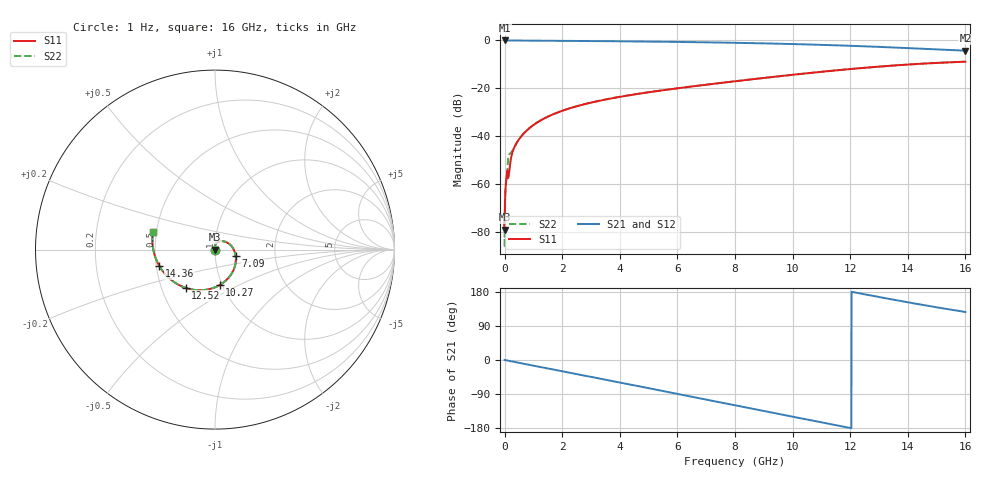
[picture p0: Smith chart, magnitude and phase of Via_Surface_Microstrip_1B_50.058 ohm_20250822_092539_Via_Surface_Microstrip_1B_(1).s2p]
! Touchstone file exported from HFSS 2025.1.0
!  File:  E:/00_Asenjo/00_Project/Ketupa/simulation/Ansys_HFSS_via/HFSS_Projects/Via_Surface_Microstrip_1B_50.058 ohm_20250822_092539.aedt
!  Generated:  09:42:27 AM Aug 22, 2025
!  Design:  Via_Surface_Microstrip_1B_(1)
!  Project:  Via_Surface_Microstrip_1B_50.058 ohm_20250822_092539
!  Setup:  Setup1
!  Solution:  Sweep
! Variables:
!  $Er1 = 4.2
!  H1 = 125um
!  H_core = 1mm
!  R_anti_pad = 400um
!  R_drill = 125um
!  R_filled = 100um
!  R_pad = 250um
!  T1 = 40um
!  W1 = 220um
!  W2 = 210um
!  subX = 5mm
!  subY = 5mm
!  subZ = 5mm
# GHz S MA R 50.000000
! Terminal data exported
! Port[1] = Trace_out_L1_T1
! Port[2] = Trace_out_L1_T2
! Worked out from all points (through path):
!   1751 points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, 1 Hz to 16 GHz, reference 50 ohm
!   highest |S21| = 0.00 dB at 1.778 MHz (marker M1); lowest = -4.3 dB at 16 GHz (marker M2)
!   group delay of S21, straight-line fit = 41.2 ps
!   lowest |S11| = -79.1 dB at 1.413 MHz (marker M3), VSWR 1.00, Z = 50 + j0.00446 ohm
!   |S11| at or under -10 dB: start of sweep to 14.09 GHz
!   |S22| runs from -86.0 to -8.9 dB; largest |S21 - S12| = 2.3e-12
!   S11 on the Smith chart (normalised r, x): 1 Hz: 1.00, +0.00; 7.09 GHz: 1.26, -0.09; 10.27 GHz: 0.97, -0.40; 12.52 GHz: 0.66, -0.30; 14.36 GHz: 0.52, -0.10; 16 GHz: 0.48, +0.11
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1e-09  0.0001575 0.0  0.9999 -0.0  0.9999 -0.0  5.011e-05 0.0
! Gamma 0.0213385173084106 4.49211469929305E-08 0.0212370476152433 4.47805256368496E-08
! Port Impedance 50 0 50 0
0.001412538  0.0001105 23.8  0.9999 -0.0  0.9999 -0.0  0.0001394 0.7
0.001778279  0.0001219 32.1  0.9999 -0.0  0.9999 -0.0  7.877e-05 178.4
0.005011872  0.0002128 55.4  0.9998 -0.1  0.9998 -0.1  0.0002112 55.9
0.01122018  0.0003693 69.2  0.9997 -0.2  0.9997 -0.2  0.0003683 70.1
0.02818383  0.0007252 78.6  0.9994 -0.4  0.9994 -0.4  0.0007244 79.2
0.04466836  0.001018 83.3  0.9992 -0.7  0.9992 -0.7  0.001018 83.0
0.08912509  0.001746 90.3  0.9987 -1.3  0.9987 -1.3  0.001747 90.2
0.19  0.002611 95.7  0.9979 -2.8  0.9979 -2.8  0.004327 98.7
0.3  0.00515 99.8  0.9969 -4.5  0.9969 -4.5  0.005281 99.9
0.45  0.007781 100.6  0.9957 -6.7  0.9957 -6.7  0.007691 100.6
1.24  0.02115 91.8  0.9892 -18.4  0.9892 -18.4  0.02119 92.0
2.67  0.04483 68.3  0.9758 -39.6  0.9758 -39.6  0.04493 68.6
5.34  0.08834 18.1  0.9427 -79.4  0.9427 -79.4  0.08853 18.6
7.09  0.1207 -17.5  0.9127 -105.8  0.9127 -105.8  0.1208 -17.0
8.01  0.1405 -36.5  0.8934 -119.6  0.8934 -119.6  0.1405 -36.0
10.27  0.1996 -82.8  0.8334 -153.7  0.8334 -153.7  0.1992 -82.4
10.67  0.2114 -90.8  0.8207 -159.7  0.8207 -159.7  0.211 -90.5
12.52  0.2691 -127.6  0.7537 173.1  0.7537 173.1  0.2685 -127.4
13.34  0.2945 -143.8  0.7204 161.4  0.7204 161.4  0.2939 -143.7
14.36  0.3236 -163.8  0.6773 147.4  0.6773 147.4  0.3232 -163.7
16  0.3596 164.2  0.6116 126.7  0.6116 126.7  0.3595 164.1
